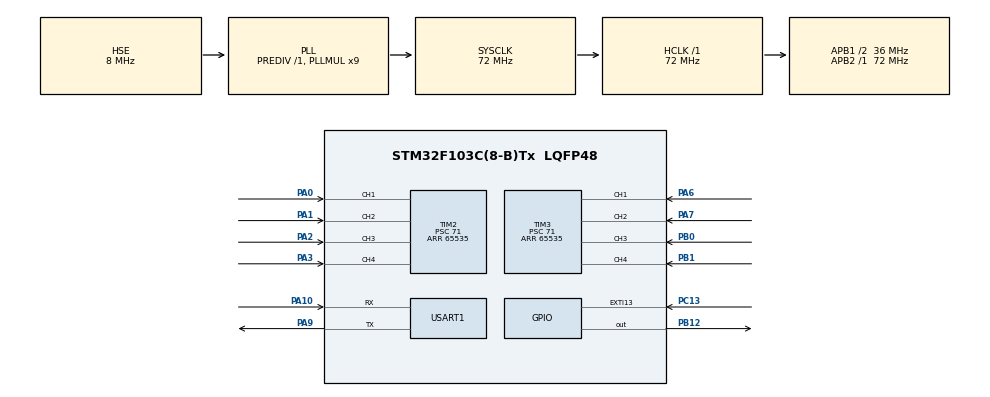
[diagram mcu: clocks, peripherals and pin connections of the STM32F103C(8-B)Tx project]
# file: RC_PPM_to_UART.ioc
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Dma.Request0=USART1_TX
Dma.USART1_TX.0.Direction=DMA_MEMORY_TO_PERIPH
Dma.USART1_TX.0.Instance=DMA1_Channel4
Dma.USART1_TX.0.MemDataAlignment=DMA_MDATAALIGN_BYTE
Dma.USART1_TX.0.MemInc=DMA_MINC_ENABLE
Dma.USART1_TX.0.Mode=DMA_NORMAL
Dma.USART1_TX.0.PeriphDataAlignment=DMA_PDATAALIGN_BYTE
Dma.USART1_TX.0.PeriphInc=DMA_PINC_DISABLE
Dma.USART1_TX.0.Priority=DMA_PRIORITY_LOW
Mcu.Family=STM32F1
Mcu.Name=STM32F103C(8-B)Tx
Mcu.Package=LQFP48
NVIC.DMA1_Channel4_IRQn=true\:0\:0\:false\:false\:true\:false\:true
NVIC.EXTI15_10_IRQn=true\:0\:0\:false\:false\:true\:true\:true
NVIC.PriorityGroup=NVIC_PRIORITYGROUP_4
NVIC.TIM2_IRQn=true\:0\:0\:false\:false\:true\:true\:true
NVIC.TIM3_IRQn=true\:0\:0\:false\:false\:true\:true\:true
NVIC.TIM4_IRQn=true\:0\:0\:false\:false\:true\:true\:true
NVIC.USART1_IRQn=true\:0\:0\:false\:false\:true\:true\:true
PA0-WKUP.GPIO_PuPd=GPIO_PULLDOWN
PA0-WKUP.Signal=S_TIM2_CH1_ETR
PA1.GPIO_PuPd=GPIO_PULLDOWN
PA1.Signal=S_TIM2_CH2
PA10.Mode=Asynchronous
PA10.Signal=USART1_RX
PA13.Mode=Serial_Wire
PA13.Signal=SYS_JTMS-SWDIO
PA14.Mode=Serial_Wire
PA14.Signal=SYS_JTCK-SWCLK
PA2.GPIO_PuPd=GPIO_PULLDOWN
PA2.Signal=S_TIM2_CH3
PA3.GPIO_PuPd=GPIO_PULLDOWN
PA3.Signal=S_TIM2_CH4
PA6.GPIO_PuPd=GPIO_PULLDOWN
PA6.Signal=S_TIM3_CH1
PA7.GPIO_PuPd=GPIO_PULLDOWN
PA7.Signal=S_TIM3_CH2
PA9.Mode=Asynchronous
PA9.Signal=USART1_TX
PB0.GPIO_PuPd=GPIO_PULLDOWN
PB0.Signal=S_TIM3_CH3
PB1.GPIO_PuPd=GPIO_PULLDOWN
PB1.Signal=S_TIM3_CH4
PB12.Signal=GPIO_Output
PC13-TAMPER-RTC.GPIO_ModeDefaultEXTI=GPIO_MODE_IT_RISING_FALLING
PC13-TAMPER-RTC.GPIO_PuPd=GPIO_PULLDOWN
PC13-TAMPER-RTC.Signal=GPXTI13
PD0-OSC_IN.Mode=HSE-External-Oscillator
PD0-OSC_IN.Signal=RCC_OSC_IN
PD1-OSC_OUT.Mode=HSE-External-Oscillator
PD1-OSC_OUT.Signal=RCC_OSC_OUT
ProjectManager.HeapSize=0x200
ProjectManager.StackSize=0x400
ProjectManager.TargetToolchain=STM32CubeIDE
RCC.AHBFreq_Value=72000000
RCC.APB1CLKDivider=RCC_HCLK_DIV2
RCC.APB1Freq_Value=36000000
RCC.APB1TimFreq_Value=72000000
RCC.APB2Freq_Value=72000000
RCC.APB2TimFreq_Value=72000000
RCC.HCLKFreq_Value=72000000
RCC.PLLMUL=RCC_PLL_MUL9
RCC.PLLSourceVirtual=RCC_PLLSOURCE_HSE
RCC.SYSCLKFreq_VALUE=72000000
RCC.SYSCLKSource=RCC_SYSCLKSOURCE_PLLCLK
RCC.USBFreq_Value=72000000
SH.S_TIM2_CH1_ETR.0=TIM2_CH1,Input_Capture1_from_TI1
SH.S_TIM2_CH2.0=TIM2_CH2,Input_Capture2_from_TI2
SH.S_TIM2_CH3.0=TIM2_CH3,Input_Capture3_from_TI3
SH.S_TIM2_CH4.0=TIM2_CH4,Input_Capture4_from_TI4
SH.S_TIM3_CH1.0=TIM3_CH1,Input_Capture1_from_TI1
SH.S_TIM3_CH2.0=TIM3_CH2,Input_Capture2_from_TI2
SH.S_TIM3_CH3.0=TIM3_CH3,Input_Capture3_from_TI3
SH.S_TIM3_CH4.0=TIM3_CH4,Input_Capture4_from_TI4
TIM2.Channel-Input_Capture1_from_TI1=TIM_CHANNEL_1
TIM2.Channel-Input_Capture2_from_TI2=TIM_CHANNEL_2
TIM2.Channel-Input_Capture3_from_TI3=TIM_CHANNEL_3
TIM2.Channel-Input_Capture4_from_TI4=TIM_CHANNEL_4
TIM2.ClockDivision=TIM_CLOCKDIVISION_DIV1
TIM2.Period=65535
TIM2.Prescaler=71
TIM3.Channel-Input_Capture1_from_TI1=TIM_CHANNEL_1
TIM3.Channel-Input_Capture2_from_TI2=TIM_CHANNEL_2
TIM3.Channel-Input_Capture3_from_TI3=TIM_CHANNEL_3
TIM3.Channel-Input_Capture4_from_TI4=TIM_CHANNEL_4
TIM3.Period=65535
TIM3.Prescaler=71
TIM4.Period=499
TIM4.Prescaler=71
USART1.VirtualMode=VM_ASYNC
VP_TIM2_VS_ClockSourceINT.Mode=Internal
VP_TIM3_VS_ClockSourceINT.Mode=Internal
VP_TIM4_VS_ClockSourceINT.Mode=Internal
board=custom

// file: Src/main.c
/* USER CODE BEGIN Header */
/**
  ******************************************************************************
  * @file           : main.c
  * @brief          : Main program body
  ******************************************************************************
  * @attention
  *
  * <h2><center>&copy; Copyright (c) 2019 STMicroelectronics.
  * All rights reserved.</center></h2>
  *
  * This software component is licensed by ST under BSD 3-Clause license,
  * the "License"; You may not use this file except in compliance with the
  * License. You may obtain a copy of the License at:
  *                        opensource.org/licenses/BSD-3-Clause
  *
  ******************************************************************************
  */
/* USER CODE END Header */

#include "main.h"

/* USER CODE BEGIN Includes */

#include "tim2.h"
#include "tim3.h"
#include "tim4.h"
#include "ctl.h"
#include "exti.h"

/* USER CODE END Includes */

TIM_HandleTypeDef htim2;
TIM_HandleTypeDef htim3;
TIM_HandleTypeDef htim4;

UART_HandleTypeDef huart1;
DMA_HandleTypeDef hdma_usart1_tx;

void SystemClock_Config(void);
static void MX_GPIO_Init(void);
static void MX_DMA_Init(void);
static void MX_USART1_UART_Init(void);
static void MX_TIM2_Init(void);
static void MX_TIM3_Init(void);
static void MX_TIM4_Init(void);

int main(void)
{

  /* MCU Configuration--------------------------------------------------------*/

  /* Reset of all peripherals, Initializes the Flash interface and the Systick. */
  HAL_Init();

  /* Configure the system clock */
  SystemClock_Config();

  /* Initialize all configured peripherals */
  MX_GPIO_Init();
  MX_DMA_Init();
  MX_USART1_UART_Init();
  MX_TIM2_Init();
  MX_TIM3_Init();
  MX_TIM4_Init();
  /* USER CODE BEGIN 2 */

  TIM2_Ini();
  TIM3_Ini();
  TIM4_Ini();
  CTL_Ini();

  /* USER CODE END 2 */

  /* Infinite loop */
  /* USER CODE BEGIN WHILE */
  while (1)
  {
	  CTL_Main();

    /* USER CODE END WHILE */

  }
}

void SystemClock_Config(void)
{
  RCC_OscInitTypeDef RCC_OscInitStruct = {0};
  RCC_ClkInitTypeDef RCC_ClkInitStruct = {0};

  /** Initializes the CPU, AHB and APB busses clocks
  */
  RCC_OscInitStruct.OscillatorType = RCC_OSCILLATORTYPE_HSE;
  RCC_OscInitStruct.HSEState = RCC_HSE_ON;
  RCC_OscInitStruct.HSEPredivValue = RCC_HSE_PREDIV_DIV1;
  RCC_OscInitStruct.HSIState = RCC_HSI_ON;
  RCC_OscInitStruct.PLL.PLLState = RCC_PLL_ON;
  RCC_OscInitStruct.PLL.PLLSource = RCC_PLLSOURCE_HSE;
  RCC_OscInitStruct.PLL.PLLMUL = RCC_PLL_MUL9;
  if (HAL_RCC_OscConfig(&RCC_OscInitStruct) != HAL_OK)
  {
    Error_Handler();
  }
  /** Initializes the CPU, AHB and APB busses clocks
  */
  RCC_ClkInitStruct.ClockType = RCC_CLOCKTYPE_HCLK|RCC_CLOCKTYPE_SYSCLK
                              |RCC_CLOCKTYPE_PCLK1|RCC_CLOCKTYPE_PCLK2;
  RCC_ClkInitStruct.SYSCLKSource = RCC_SYSCLKSOURCE_PLLCLK;
  RCC_ClkInitStruct.AHBCLKDivider = RCC_SYSCLK_DIV1;
  RCC_ClkInitStruct.APB1CLKDivider = RCC_HCLK_DIV2;
  RCC_ClkInitStruct.APB2CLKDivider = RCC_HCLK_DIV1;

  if (HAL_RCC_ClockConfig(&RCC_ClkInitStruct, FLASH_LATENCY_2) != HAL_OK)
  {
    Error_Handler();
  }
}

static void MX_TIM2_Init(void)
{

  TIM_ClockConfigTypeDef sClockSourceConfig = {0};
  TIM_MasterConfigTypeDef sMasterConfig = {0};
  TIM_IC_InitTypeDef sConfigIC = {0};

  htim2.Instance = TIM2;
  htim2.Init.Prescaler = 71;
  htim2.Init.CounterMode = TIM_COUNTERMODE_UP;
  htim2.Init.Period = 65535;
  htim2.Init.ClockDivision = TIM_CLOCKDIVISION_DIV1;
  htim2.Init.AutoReloadPreload = TIM_AUTORELOAD_PRELOAD_DISABLE;
  if (HAL_TIM_Base_Init(&htim2) != HAL_OK)
  {
    Error_Handler();
  }
  sClockSourceConfig.ClockSource = TIM_CLOCKSOURCE_INTERNAL;
  if (HAL_TIM_ConfigClockSource(&htim2, &sClockSourceConfig) != HAL_OK)
  {
    Error_Handler();
  }
  if (HAL_TIM_IC_Init(&htim2) != HAL_OK)
  {
    Error_Handler();
  }
  sMasterConfig.MasterOutputTrigger = TIM_TRGO_RESET;
  sMasterConfig.MasterSlaveMode = TIM_MASTERSLAVEMODE_DISABLE;
  if (HAL_TIMEx_MasterConfigSynchronization(&htim2, &sMasterConfig) != HAL_OK)
  {
    Error_Handler();
  }
  sConfigIC.ICPolarity = TIM_INPUTCHANNELPOLARITY_RISING;
  sConfigIC.ICSelection = TIM_ICSELECTION_DIRECTTI;
  sConfigIC.ICPrescaler = TIM_ICPSC_DIV1;
  sConfigIC.ICFilter = 0;
  if (HAL_TIM_IC_ConfigChannel(&htim2, &sConfigIC, TIM_CHANNEL_1) != HAL_OK)
  {
    Error_Handler();
  }
  if (HAL_TIM_IC_ConfigChannel(&htim2, &sConfigIC, TIM_CHANNEL_2) != HAL_OK)
  {
    Error_Handler();
  }
  if (HAL_TIM_IC_ConfigChannel(&htim2, &sConfigIC, TIM_CHANNEL_3) != HAL_OK)
  {
    Error_Handler();
  }
  if (HAL_TIM_IC_ConfigChannel(&htim2, &sConfigIC, TIM_CHANNEL_4) != HAL_OK)
  {
    Error_Handler();
  }

}

static void MX_TIM3_Init(void)
{

  TIM_ClockConfigTypeDef sClockSourceConfig = {0};
  TIM_MasterConfigTypeDef sMasterConfig = {0};
  TIM_IC_InitTypeDef sConfigIC = {0};

  htim3.Instance = TIM3;
  htim3.Init.Prescaler = 71;
  htim3.Init.CounterMode = TIM_COUNTERMODE_UP;
  htim3.Init.Period = 65535;
  htim3.Init.ClockDivision = TIM_CLOCKDIVISION_DIV1;
  htim3.Init.AutoReloadPreload = TIM_AUTORELOAD_PRELOAD_DISABLE;
  if (HAL_TIM_Base_Init(&htim3) != HAL_OK)
  {
    Error_Handler();
  }
  sClockSourceConfig.ClockSource = TIM_CLOCKSOURCE_INTERNAL;
  if (HAL_TIM_ConfigClockSource(&htim3, &sClockSourceConfig) != HAL_OK)
  {
    Error_Handler();
  }
  if (HAL_TIM_IC_Init(&htim3) != HAL_OK)
  {
    Error_Handler();
  }
  sMasterConfig.MasterOutputTrigger = TIM_TRGO_RESET;
  sMasterConfig.MasterSlaveMode = TIM_MASTERSLAVEMODE_DISABLE;
  if (HAL_TIMEx_MasterConfigSynchronization(&htim3, &sMasterConfig) != HAL_OK)
  {
    Error_Handler();
  }
  sConfigIC.ICPolarity = TIM_INPUTCHANNELPOLARITY_RISING;
  sConfigIC.ICSelection = TIM_ICSELECTION_DIRECTTI;
  sConfigIC.ICPrescaler = TIM_ICPSC_DIV1;
  sConfigIC.ICFilter = 0;
  if (HAL_TIM_IC_ConfigChannel(&htim3, &sConfigIC, TIM_CHANNEL_1) != HAL_OK)
  {
    Error_Handler();
  }
  if (HAL_TIM_IC_ConfigChannel(&htim3, &sConfigIC, TIM_CHANNEL_2) != HAL_OK)
  {
    Error_Handler();
  }
  if (HAL_TIM_IC_ConfigChannel(&htim3, &sConfigIC, TIM_CHANNEL_3) != HAL_OK)
  {
    Error_Handler();
  }
  if (HAL_TIM_IC_ConfigChannel(&htim3, &sConfigIC, TIM_CHANNEL_4) != HAL_OK)
  {
    Error_Handler();
  }

}

static void MX_TIM4_Init(void)
{

  TIM_ClockConfigTypeDef sClockSourceConfig = {0};
  TIM_MasterConfigTypeDef sMasterConfig = {0};

  htim4.Instance = TIM4;
  htim4.Init.Prescaler = 71;
  htim4.Init.CounterMode = TIM_COUNTERMODE_UP;
  htim4.Init.Period = 499;
  htim4.Init.ClockDivision = TIM_CLOCKDIVISION_DIV1;
  htim4.Init.AutoReloadPreload = TIM_AUTORELOAD_PRELOAD_DISABLE;
  if (HAL_TIM_Base_Init(&htim4) != HAL_OK)
  {
    Error_Handler();
  }
  sClockSourceConfig.ClockSource = TIM_CLOCKSOURCE_INTERNAL;
  if (HAL_TIM_ConfigClockSource(&htim4, &sClockSourceConfig) != HAL_OK)
  {
    Error_Handler();
  }
  sMasterConfig.MasterOutputTrigger = TIM_TRGO_RESET;
  sMasterConfig.MasterSlaveMode = TIM_MASTERSLAVEMODE_DISABLE;
  if (HAL_TIMEx_MasterConfigSynchronization(&htim4, &sMasterConfig) != HAL_OK)
  {
    Error_Handler();
  }

}

static void MX_USART1_UART_Init(void)
{

  huart1.Instance = USART1;
  huart1.Init.BaudRate = 115200;
  huart1.Init.WordLength = UART_WORDLENGTH_8B;
  huart1.Init.StopBits = UART_STOPBITS_1;
  huart1.Init.Parity = UART_PARITY_NONE;
  huart1.Init.Mode = UART_MODE_TX_RX;
  huart1.Init.HwFlowCtl = UART_HWCONTROL_NONE;
  huart1.Init.OverSampling = UART_OVERSAMPLING_16;
  if (HAL_UART_Init(&huart1) != HAL_OK)
  {
    Error_Handler();
  }

}

static void MX_DMA_Init(void)
{
  /* DMA controller clock enable */
  __HAL_RCC_DMA1_CLK_ENABLE();

  /* DMA interrupt init */
  /* DMA1_Channel4_IRQn interrupt configuration */
  HAL_NVIC_SetPriority(DMA1_Channel4_IRQn, 0, 0);
  HAL_NVIC_EnableIRQ(DMA1_Channel4_IRQn);

}

static void MX_GPIO_Init(void)
{
  GPIO_InitTypeDef GPIO_InitStruct = {0};

  /* GPIO Ports Clock Enable */
  __HAL_RCC_GPIOC_CLK_ENABLE();
  __HAL_RCC_GPIOD_CLK_ENABLE();
  __HAL_RCC_GPIOA_CLK_ENABLE();
  __HAL_RCC_GPIOB_CLK_ENABLE();

  /*Configure GPIO pin Output Level */
  HAL_GPIO_WritePin(GPIOB, GPIO_PIN_12, GPIO_PIN_RESET);

  /*Configure GPIO pin : PC13 */
  GPIO_InitStruct.Pin = GPIO_PIN_13;
  GPIO_InitStruct.Mode = GPIO_MODE_IT_RISING_FALLING;
  GPIO_InitStruct.Pull = GPIO_PULLDOWN;
  HAL_GPIO_Init(GPIOC, &GPIO_InitStruct);

  /*Configure GPIO pin : PB12 */
  GPIO_InitStruct.Pin = GPIO_PIN_12;
  GPIO_InitStruct.Mode = GPIO_MODE_OUTPUT_PP;
  GPIO_InitStruct.Pull = GPIO_NOPULL;
  GPIO_InitStruct.Speed = GPIO_SPEED_FREQ_LOW;
  HAL_GPIO_Init(GPIOB, &GPIO_InitStruct);

  /* EXTI interrupt init*/
  HAL_NVIC_SetPriority(EXTI15_10_IRQn, 0, 0);
  HAL_NVIC_EnableIRQ(EXTI15_10_IRQn);

}

/* USER CODE BEGIN 4 */

/******************************************************************************
*  Function Name  :
*  Description    :
*  Parameter(s)   :
*  Return Value   :
******************************************************************************/

void HAL_TIM_IC_CaptureCallback(TIM_HandleTypeDef *htim)
{
	TIM2_HAL_TIM_IC_CaptureCallback(htim);
	TIM3_HAL_TIM_IC_CaptureCallback(htim);
}

/******************************************************************************
*  Function Name  :
*  Description    :
*  Parameter(s)   :
*  Return Value   :
******************************************************************************/

void HAL_TIM_PeriodElapsedCallback(TIM_HandleTypeDef *htim)
{
	TIM4_HAL_TIM_PeriodElapsedCallback(htim);

}

/******************************************************************************
*  Function Name  :
*  Description    :
*  Parameter(s)   :
*  Return Value   :
******************************************************************************/

void HAL_GPIO_EXTI_Callback(uint16_t GPIO_Pin)
{

	EXTI_HAL_GPIO_EXTI_Callback(GPIO_Pin);

}

/* USER CODE END 4 */

void Error_Handler(void)
{
}

/************************ (C) COPYRIGHT STMicroelectronics *****END OF FILE****/
